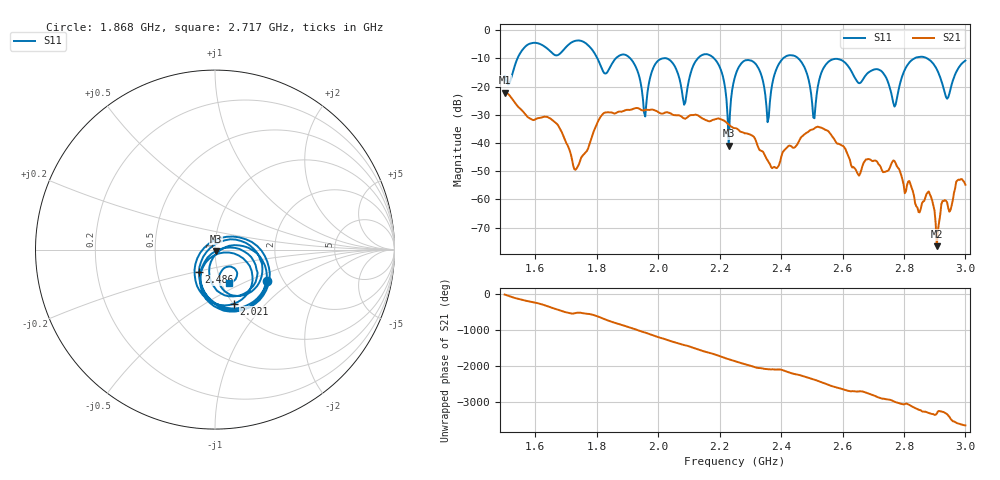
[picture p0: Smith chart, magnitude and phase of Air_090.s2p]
# HZ S RI R 50
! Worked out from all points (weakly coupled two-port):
!   404 points, 1.5 GHz to 3 GHz, reference 50 ohm
!   highest |S21| = -22.11 dB at 1.5 GHz (marker M1); lowest = -76.6 dB at 2.907 GHz (marker M2)
!   lowest |S11| = -40.9 dB at 2.23 GHz (marker M3), VSWR 1.02, Z = 50.5 - j0.738 ohm
!   |S11| at or under -10 dB: 2.182 GHz to 2.406 GHz (224.6 MHz wide, 9.79 % of centre); 2.456 GHz to 2.834 GHz (378.1 MHz wide, 14.3 % of centre); 2.875 GHz to end of sweep (the widest 3 of 7)
!   S12 and S22 are empty: the file has one direction only
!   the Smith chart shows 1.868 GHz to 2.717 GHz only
!   S11 on the Smith chart (normalised r, x): 1.868 GHz: 1.66, -0.66; 2.021 GHz: 1.00, -0.68; 2.486 GHz: 0.81, -0.21; 2.717 GHz: 1.09, -0.42
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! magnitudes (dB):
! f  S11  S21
! 1.5 GHz  -16.3  -22.1
! 1.753 GHz  -3.9  -44.6
! 1.868 GHz  -9.4  -29.0
! 1.958 GHz  -30.6  -28.2
! 2.002 GHz  -10.6  -29.2
! 2.021 GHz  -9.9  -29.3
! 2.084 GHz  -26.4  -31.3
! 2.177 GHz  -9.5  -31.8
! 2.23 GHz  -40.9  -33.5
! 2.252 GHz  -15.8  -34.8
! 2.315 GHz  -11.7  -38.5
! 2.356 GHz  -32.6  -46.2
! 2.378 GHz  -15.8  -48.5
! 2.486 GHz  -16.2  -36.2
! 2.501 GHz  -26.0  -35.2
! 2.565 GHz  -10.5  -37.4
! 2.717 GHz  -13.9  -47.5
! 2.751 GHz  -19.2  -49.5
! 2.885 GHz  -10.7  -58.3
! 2.907 GHz  -13.9  -76.6
! 2.94 GHz  -24.3  -61.1
! 3 GHz  -10.8  -54.8
